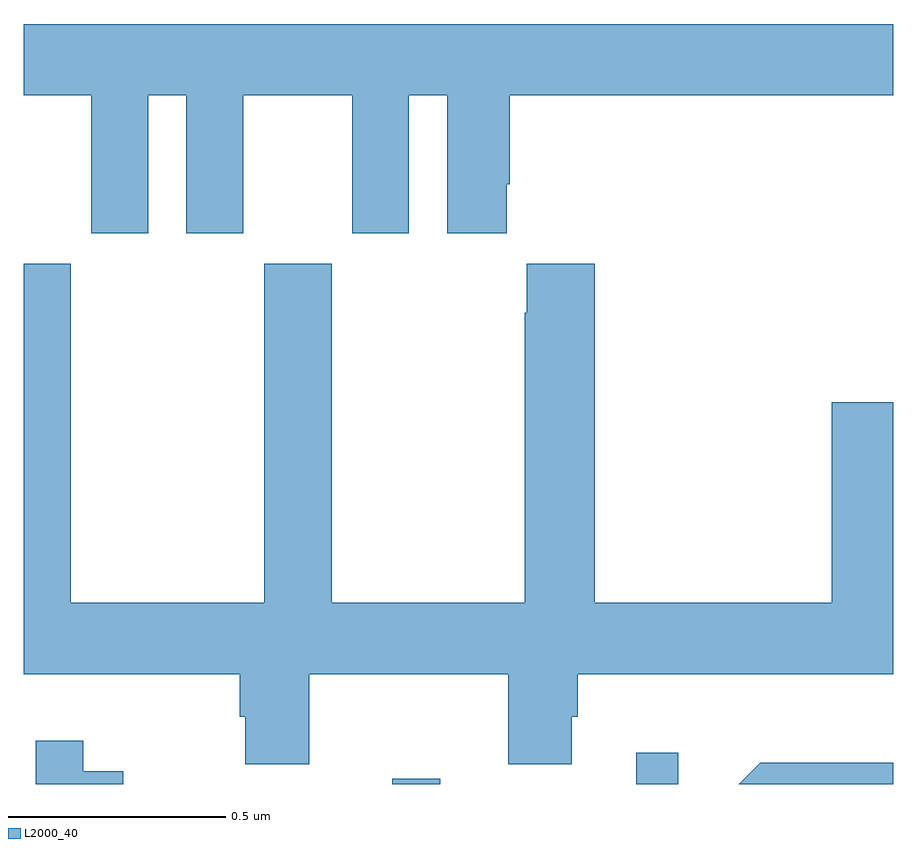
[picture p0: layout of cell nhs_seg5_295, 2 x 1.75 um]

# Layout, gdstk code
import gdstk
lib = gdstk.Library(unit=1e-6, precision=1e-09)
def R(c, l, rs):  # rectangles x0, y0, x1, y1
    for r in rs: c.add(gdstk.rectangle(r[:2], r[2:], *l))
def P(c, l, *ps):  # polygons
    for p in ps: c.add(gdstk.Polygon(p, *l))
L2000_40 = (2000, 40)

nhs_seg5_295 = lib.new_cell('nhs_seg5_295')
R(nhs_seg5_295, L2000_40, [(114.847,897.799,114.958,897.811), (115.409,897.799,115.506,897.871)])
P(nhs_seg5_295, L2000_40, [(114.286,899.384),(114.374,899.384),(114.374,899.067),(114.505,899.067),(114.505,899.384),(114.755,899.384),(114.755,899.067),(114.886,899.067),(114.886,899.384),(114.974,899.384),(114.974,899.067),(115.111,899.067),(115.111,899.179),(115.118,899.179),(115.118,899.384),(116,899.384),(116,899.548),(114,899.548),(114,899.384),(114.155,899.384),(114.155,899.067),(114.286,899.067)],
  [(114.657,898.052),(115.114,898.052),(115.114,897.844),(115.261,897.844),(115.261,897.954),(115.274,897.954),(115.274,898.052),(116,898.052),(116,898.678),(115.859,898.678),(115.859,898.216),(115.313,898.216),(115.313,898.996),(115.157,898.996),(115.157,898.883),(115.153,898.883),(115.153,898.216),(114.708,898.216),(114.708,898.996),(114.553,898.996),(114.553,898.216),(114.108,898.216),(114.108,898.996),(114,898.996),(114,898.052),(114.497,898.052),(114.497,897.954),(114.509,897.954),(114.509,897.844),(114.657,897.844)],
  [(114.228,897.828),(114.136,897.828),(114.136,897.898),(114.027,897.898),(114.027,897.799),(114.228,897.799)],
  [(116,897.848),(115.694,897.848),(115.645,897.799),(116,897.799)])

lib.write_gds('nhs_seg5_295.gds')
